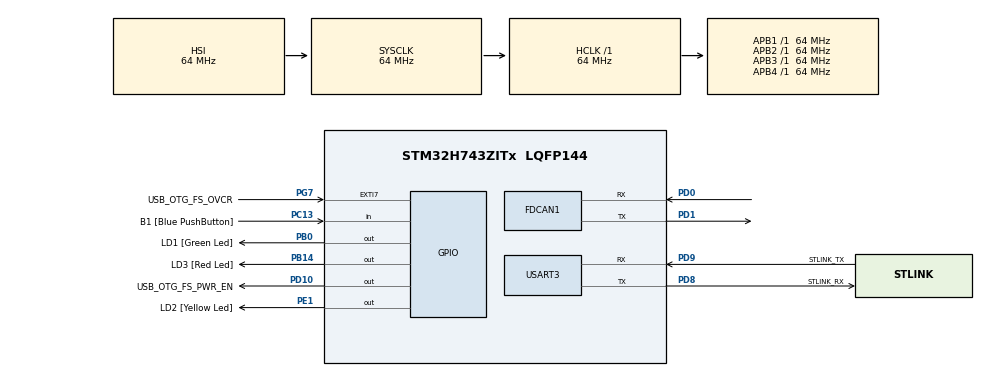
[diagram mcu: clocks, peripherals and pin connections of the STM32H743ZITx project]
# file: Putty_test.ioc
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FDCAN1.ExtFiltersNbr=2
FDCAN1.RxFifo0ElmtsNbr=10
Mcu.Family=STM32H7
Mcu.Name=STM32H743ZITx
Mcu.Package=LQFP144
NVIC.FDCAN1_IT0_IRQn=true\:0\:0\:false\:false\:true\:true\:true
NVIC.PriorityGroup=NVIC_PRIORITYGROUP_4
PA1.Signal=ETH_REF_CLK
PA11.Signal=USB_OTG_FS_DM
PA12.Signal=USB_OTG_FS_DP
PA2.Signal=ETH_MDIO
PA7.Signal=ETH_CRS_DV
PA8.Signal=USB_OTG_FS_SOF
PA9.Signal=USB_OTG_FS_VBUS
PB0.GPIO_Label=LD1 [Green Led]
PB0.Signal=GPIO_Output
PB13.Signal=ETH_TXD1
PB14.GPIO_Label=LD3 [Red Led]
PB14.Signal=GPIO_Output
PC1.Signal=ETH_MDC
PC13.GPIO_Label=B1 [Blue PushButton]
PC13.Signal=GPIO_Input
PC14-OSC32_IN\ (OSC32_IN).Signal=RCC_OSC32_IN
PC15-OSC32_OUT\ (OSC32_OUT).Signal=RCC_OSC32_OUT
PC4.Signal=ETH_RXD0
PC5.Signal=ETH_RXD1
PD0.Mode=FDCANMaster
PD0.Signal=FDCAN1_RX
PD1.Mode=FDCANMaster
PD1.Signal=FDCAN1_TX
PD10.GPIO_Label=USB_OTG_FS_PWR_EN
PD10.Signal=GPIO_Output
PD8.GPIO_Label=STLINK_RX
PD8.Mode=Asynchronous
PD8.Signal=USART3_TX
PD9.GPIO_Label=STLINK_TX
PD9.Mode=Asynchronous
PD9.Signal=USART3_RX
PE1.GPIO_Label=LD2 [Yellow Led]
PE1.Signal=GPIO_Output
PG11.Signal=ETH_TX_EN
PG13.Signal=ETH_TXD0
PG7.GPIO_Label=USB_OTG_FS_OVCR
PG7.Signal=GPXTI7
PH0-OSC_IN\ (PH0).Mode=HSE-External-Oscillator
PH0-OSC_IN\ (PH0).Signal=RCC_OSC_IN
PH1-OSC_OUT\ (PH1).Mode=HSE-External-Oscillator
PH1-OSC_OUT\ (PH1).Signal=RCC_OSC_OUT
ProjectManager.HeapSize=0x200
ProjectManager.StackSize=0x400
ProjectManager.TargetToolchain=STM32CubeIDE
RCC.ADCFreq_Value=129000000
RCC.APB1Freq_Value=64000000
RCC.APB2Freq_Value=64000000
RCC.APB3Freq_Value=64000000
RCC.APB4Freq_Value=64000000
RCC.CortexFreq_Value=64000000
RCC.DIVM1=4
RCC.DIVN1=9
RCC.HCLKFreq_Value=64000000
RCC.PLLFRACN=3072
RCC.SYSCLKFreq_VALUE=64000000
RCC.USBFreq_Value=75000000
USART3.VirtualMode-Asynchronous=VM_ASYNC
board=NUCLEO-H743ZI2

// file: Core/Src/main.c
/* USER CODE BEGIN Header */
/**
  ******************************************************************************
  * @file           : main.c
  * @brief          : Main program body
  ******************************************************************************
  * @attention
  *
  * <h2><center>&copy; Copyright (c) 2021 STMicroelectronics.
  * All rights reserved.</center></h2>
  *
  * This software component is licensed by ST under BSD 3-Clause license,
  * the "License"; You may not use this file except in compliance with the
  * License. You may obtain a copy of the License at:
  *                        opensource.org/licenses/BSD-3-Clause
  *
  ******************************************************************************
  */
/* USER CODE END Header */
#include "main.h"

/* USER CODE BEGIN Includes */
#include <stdio.h>
#include "retarget.h"
/* USER CODE END Includes */

FDCAN_HandleTypeDef hfdcan1;

UART_HandleTypeDef huart3;

/* USER CODE BEGIN PV */
FDCAN_RxHeaderTypeDef RxHeader;
uint8_t RxData[64];
FDCAN_TxHeaderTypeDef TxHeader;
uint8_t TxData[8];

/* USER CODE END PV */

void SystemClock_Config(void);
static void MX_GPIO_Init(void);
static void MX_USART3_UART_Init(void);
static void MX_FDCAN1_Init(void);
/* USER CODE BEGIN PFP */
static void FDCAN_Config(void);
/* USER CODE END PFP */

int main(void)
{
  /* USER CODE BEGIN 1 */
	printf("Starting!");
  /* USER CODE END 1 */

  /* MCU Configuration--------------------------------------------------------*/

  /* Reset of all peripherals, Initializes the Flash interface and the Systick. */
  HAL_Init();

  /* Configure the system clock */
  SystemClock_Config();

  /* Initialize all configured peripherals */
  MX_GPIO_Init();
  MX_USART3_UART_Init();
  MX_FDCAN1_Init();
  /* USER CODE BEGIN 2 */
  FDCAN_Config();
  RetargetInit(&huart3);
  /* USER CODE END 2 */

  /* Infinite loop */
  /* USER CODE BEGIN WHILE */
  while (1)
  {

	  HAL_Delay(500);
    /* USER CODE END WHILE */

  }
}

void SystemClock_Config(void)
{
  RCC_OscInitTypeDef RCC_OscInitStruct = {0};
  RCC_ClkInitTypeDef RCC_ClkInitStruct = {0};
  RCC_PeriphCLKInitTypeDef PeriphClkInitStruct = {0};

  /** Supply configuration update enable
  */
  HAL_PWREx_ConfigSupply(PWR_LDO_SUPPLY);
  /** Configure the main internal regulator output voltage
  */
  __HAL_PWR_VOLTAGESCALING_CONFIG(PWR_REGULATOR_VOLTAGE_SCALE3);

  while(!__HAL_PWR_GET_FLAG(PWR_FLAG_VOSRDY)) {}
  /** Initializes the RCC Oscillators according to the specified parameters
  * in the RCC_OscInitTypeDef structure.
  */
  RCC_OscInitStruct.OscillatorType = RCC_OSCILLATORTYPE_HSI;
  RCC_OscInitStruct.HSIState = RCC_HSI_DIV1;
  RCC_OscInitStruct.HSICalibrationValue = RCC_HSICALIBRATION_DEFAULT;
  RCC_OscInitStruct.PLL.PLLState = RCC_PLL_ON;
  RCC_OscInitStruct.PLL.PLLSource = RCC_PLLSOURCE_HSI;
  RCC_OscInitStruct.PLL.PLLM = 4;
  RCC_OscInitStruct.PLL.PLLN = 9;
  RCC_OscInitStruct.PLL.PLLP = 2;
  RCC_OscInitStruct.PLL.PLLQ = 2;
  RCC_OscInitStruct.PLL.PLLR = 2;
  RCC_OscInitStruct.PLL.PLLRGE = RCC_PLL1VCIRANGE_3;
  RCC_OscInitStruct.PLL.PLLVCOSEL = RCC_PLL1VCOMEDIUM;
  RCC_OscInitStruct.PLL.PLLFRACN = 3072;
  if (HAL_RCC_OscConfig(&RCC_OscInitStruct) != HAL_OK)
  {
    Error_Handler();
  }
  /** Initializes the CPU, AHB and APB buses clocks
  */
  RCC_ClkInitStruct.ClockType = RCC_CLOCKTYPE_HCLK|RCC_CLOCKTYPE_SYSCLK
                              |RCC_CLOCKTYPE_PCLK1|RCC_CLOCKTYPE_PCLK2
                              |RCC_CLOCKTYPE_D3PCLK1|RCC_CLOCKTYPE_D1PCLK1;
  RCC_ClkInitStruct.SYSCLKSource = RCC_SYSCLKSOURCE_HSI;
  RCC_ClkInitStruct.SYSCLKDivider = RCC_SYSCLK_DIV1;
  RCC_ClkInitStruct.AHBCLKDivider = RCC_HCLK_DIV1;
  RCC_ClkInitStruct.APB3CLKDivider = RCC_APB3_DIV1;
  RCC_ClkInitStruct.APB1CLKDivider = RCC_APB1_DIV1;
  RCC_ClkInitStruct.APB2CLKDivider = RCC_APB2_DIV1;
  RCC_ClkInitStruct.APB4CLKDivider = RCC_APB4_DIV1;

  if (HAL_RCC_ClockConfig(&RCC_ClkInitStruct, FLASH_LATENCY_0) != HAL_OK)
  {
    Error_Handler();
  }
  PeriphClkInitStruct.PeriphClockSelection = RCC_PERIPHCLK_USART3|RCC_PERIPHCLK_FDCAN;
  PeriphClkInitStruct.FdcanClockSelection = RCC_FDCANCLKSOURCE_PLL;
  PeriphClkInitStruct.Usart234578ClockSelection = RCC_USART234578CLKSOURCE_D2PCLK1;
  if (HAL_RCCEx_PeriphCLKConfig(&PeriphClkInitStruct) != HAL_OK)
  {
    Error_Handler();
  }
}

static void MX_FDCAN1_Init(void)
{

  hfdcan1.Instance = FDCAN1;
  hfdcan1.Init.FrameFormat = FDCAN_FRAME_FD_BRS;
  hfdcan1.Init.Mode = FDCAN_MODE_NORMAL;
  hfdcan1.Init.AutoRetransmission = DISABLE;
  hfdcan1.Init.TransmitPause = DISABLE;
  hfdcan1.Init.ProtocolException = DISABLE;
  hfdcan1.Init.NominalPrescaler = 1;
  hfdcan1.Init.NominalSyncJumpWidth = 1;
  hfdcan1.Init.NominalTimeSeg1 = 63;
  hfdcan1.Init.NominalTimeSeg2 = 16;
  hfdcan1.Init.DataPrescaler = 1;
  hfdcan1.Init.DataSyncJumpWidth = 1;
  hfdcan1.Init.DataTimeSeg1 = 63;
  hfdcan1.Init.DataTimeSeg2 = 16;
  hfdcan1.Init.MessageRAMOffset = 0;
  hfdcan1.Init.StdFiltersNbr = 2;
  hfdcan1.Init.ExtFiltersNbr = 2;
  hfdcan1.Init.RxFifo0ElmtsNbr = 10;
  hfdcan1.Init.RxFifo0ElmtSize = FDCAN_DATA_BYTES_64;
  hfdcan1.Init.RxFifo1ElmtsNbr = 0;
  hfdcan1.Init.RxFifo1ElmtSize = FDCAN_DATA_BYTES_8;
  hfdcan1.Init.RxBuffersNbr = 0;
  hfdcan1.Init.RxBufferSize = FDCAN_DATA_BYTES_8;
  hfdcan1.Init.TxEventsNbr = 0;
  hfdcan1.Init.TxBuffersNbr = 0;
  hfdcan1.Init.TxFifoQueueElmtsNbr = 0;
  hfdcan1.Init.TxFifoQueueMode = FDCAN_TX_FIFO_OPERATION;
  hfdcan1.Init.TxElmtSize = FDCAN_DATA_BYTES_8;
  if (HAL_FDCAN_Init(&hfdcan1) != HAL_OK)
  {
    Error_Handler();
  }

}

static void MX_USART3_UART_Init(void)
{

  huart3.Instance = USART3;
  huart3.Init.BaudRate = 115200;
  huart3.Init.WordLength = UART_WORDLENGTH_8B;
  huart3.Init.StopBits = UART_STOPBITS_1;
  huart3.Init.Parity = UART_PARITY_NONE;
  huart3.Init.Mode = UART_MODE_TX_RX;
  huart3.Init.HwFlowCtl = UART_HWCONTROL_NONE;
  huart3.Init.OverSampling = UART_OVERSAMPLING_16;
  huart3.Init.OneBitSampling = UART_ONE_BIT_SAMPLE_DISABLE;
  huart3.Init.ClockPrescaler = UART_PRESCALER_DIV1;
  huart3.AdvancedInit.AdvFeatureInit = UART_ADVFEATURE_NO_INIT;
  if (HAL_UART_Init(&huart3) != HAL_OK)
  {
    Error_Handler();
  }
  if (HAL_UARTEx_SetTxFifoThreshold(&huart3, UART_TXFIFO_THRESHOLD_1_8) != HAL_OK)
  {
    Error_Handler();
  }
  if (HAL_UARTEx_SetRxFifoThreshold(&huart3, UART_RXFIFO_THRESHOLD_1_8) != HAL_OK)
  {
    Error_Handler();
  }
  if (HAL_UARTEx_DisableFifoMode(&huart3) != HAL_OK)
  {
    Error_Handler();
  }

}

static void MX_GPIO_Init(void)
{
  GPIO_InitTypeDef GPIO_InitStruct = {0};

  /* GPIO Ports Clock Enable */
  __HAL_RCC_GPIOC_CLK_ENABLE();
  __HAL_RCC_GPIOH_CLK_ENABLE();
  __HAL_RCC_GPIOA_CLK_ENABLE();
  __HAL_RCC_GPIOB_CLK_ENABLE();
  __HAL_RCC_GPIOD_CLK_ENABLE();
  __HAL_RCC_GPIOG_CLK_ENABLE();
  __HAL_RCC_GPIOE_CLK_ENABLE();

  /*Configure GPIO pin Output Level */
  HAL_GPIO_WritePin(GPIOB, LD1_Pin|LD3_Pin, GPIO_PIN_RESET);

  /*Configure GPIO pin Output Level */
  HAL_GPIO_WritePin(USB_OTG_FS_PWR_EN_GPIO_Port, USB_OTG_FS_PWR_EN_Pin, GPIO_PIN_RESET);

  /*Configure GPIO pin Output Level */
  HAL_GPIO_WritePin(LD2_GPIO_Port, LD2_Pin, GPIO_PIN_RESET);

  /*Configure GPIO pin : B1_Pin */
  GPIO_InitStruct.Pin = B1_Pin;
  GPIO_InitStruct.Mode = GPIO_MODE_INPUT;
  GPIO_InitStruct.Pull = GPIO_NOPULL;
  HAL_GPIO_Init(B1_GPIO_Port, &GPIO_InitStruct);

  /*Configure GPIO pins : PC1 PC4 PC5 */
  GPIO_InitStruct.Pin = GPIO_PIN_1|GPIO_PIN_4|GPIO_PIN_5;
  GPIO_InitStruct.Mode = GPIO_MODE_AF_PP;
  GPIO_InitStruct.Pull = GPIO_NOPULL;
  GPIO_InitStruct.Speed = GPIO_SPEED_FREQ_LOW;
  GPIO_InitStruct.Alternate = GPIO_AF11_ETH;
  HAL_GPIO_Init(GPIOC, &GPIO_InitStruct);

  /*Configure GPIO pins : PA1 PA2 PA7 */
  GPIO_InitStruct.Pin = GPIO_PIN_1|GPIO_PIN_2|GPIO_PIN_7;
  GPIO_InitStruct.Mode = GPIO_MODE_AF_PP;
  GPIO_InitStruct.Pull = GPIO_NOPULL;
  GPIO_InitStruct.Speed = GPIO_SPEED_FREQ_LOW;
  GPIO_InitStruct.Alternate = GPIO_AF11_ETH;
  HAL_GPIO_Init(GPIOA, &GPIO_InitStruct);

  /*Configure GPIO pins : LD1_Pin LD3_Pin */
  GPIO_InitStruct.Pin = LD1_Pin|LD3_Pin;
  GPIO_InitStruct.Mode = GPIO_MODE_OUTPUT_PP;
  GPIO_InitStruct.Pull = GPIO_NOPULL;
  GPIO_InitStruct.Speed = GPIO_SPEED_FREQ_LOW;
  HAL_GPIO_Init(GPIOB, &GPIO_InitStruct);

  /*Configure GPIO pin : PB13 */
  GPIO_InitStruct.Pin = GPIO_PIN_13;
  GPIO_InitStruct.Mode = GPIO_MODE_AF_PP;
  GPIO_InitStruct.Pull = GPIO_NOPULL;
  GPIO_InitStruct.Speed = GPIO_SPEED_FREQ_LOW;
  GPIO_InitStruct.Alternate = GPIO_AF11_ETH;
  HAL_GPIO_Init(GPIOB, &GPIO_InitStruct);

  /*Configure GPIO pin : USB_OTG_FS_PWR_EN_Pin */
  GPIO_InitStruct.Pin = USB_OTG_FS_PWR_EN_Pin;
  GPIO_InitStruct.Mode = GPIO_MODE_OUTPUT_PP;
  GPIO_InitStruct.Pull = GPIO_NOPULL;
  GPIO_InitStruct.Speed = GPIO_SPEED_FREQ_LOW;
  HAL_GPIO_Init(USB_OTG_FS_PWR_EN_GPIO_Port, &GPIO_InitStruct);

  /*Configure GPIO pin : USB_OTG_FS_OVCR_Pin */
  GPIO_InitStruct.Pin = USB_OTG_FS_OVCR_Pin;
  GPIO_InitStruct.Mode = GPIO_MODE_IT_RISING;
  GPIO_InitStruct.Pull = GPIO_NOPULL;
  HAL_GPIO_Init(USB_OTG_FS_OVCR_GPIO_Port, &GPIO_InitStruct);

  /*Configure GPIO pins : PA8 PA11 PA12 */
  GPIO_InitStruct.Pin = GPIO_PIN_8|GPIO_PIN_11|GPIO_PIN_12;
  GPIO_InitStruct.Mode = GPIO_MODE_AF_PP;
  GPIO_InitStruct.Pull = GPIO_NOPULL;
  GPIO_InitStruct.Speed = GPIO_SPEED_FREQ_LOW;
  GPIO_InitStruct.Alternate = GPIO_AF10_OTG1_FS;
  HAL_GPIO_Init(GPIOA, &GPIO_InitStruct);

  /*Configure GPIO pins : PG11 PG13 */
  GPIO_InitStruct.Pin = GPIO_PIN_11|GPIO_PIN_13;
  GPIO_InitStruct.Mode = GPIO_MODE_AF_PP;
  GPIO_InitStruct.Pull = GPIO_NOPULL;
  GPIO_InitStruct.Speed = GPIO_SPEED_FREQ_LOW;
  GPIO_InitStruct.Alternate = GPIO_AF11_ETH;
  HAL_GPIO_Init(GPIOG, &GPIO_InitStruct);

  /*Configure GPIO pin : LD2_Pin */
  GPIO_InitStruct.Pin = LD2_Pin;
  GPIO_InitStruct.Mode = GPIO_MODE_OUTPUT_PP;
  GPIO_InitStruct.Pull = GPIO_NOPULL;
  GPIO_InitStruct.Speed = GPIO_SPEED_FREQ_LOW;
  HAL_GPIO_Init(LD2_GPIO_Port, &GPIO_InitStruct);

}

/* USER CODE BEGIN 4 */
static void FDCAN_Config(void){
	FDCAN_FilterTypeDef sFilterConfig;

	  /* Configure Rx filter */
	  sFilterConfig.IdType = FDCAN_STANDARD_ID;
	  sFilterConfig.FilterIndex = 0;
	  sFilterConfig.FilterType = FDCAN_FILTER_MASK;
	  sFilterConfig.FilterConfig = FDCAN_FILTER_TO_RXFIFO0;
	  sFilterConfig.FilterID1 = 0x321;
	  sFilterConfig.FilterID2 = 0x7FF;
	  if (HAL_FDCAN_ConfigFilter(&hfdcan1, &sFilterConfig) == HAL_OK)
	  {
	    printf("Filter configured");
	  }

	  /* Configure global filter:
	     Filter all remote frames with STD and EXT ID
	     Reject non matching frames with STD ID and EXT ID */
	  if (HAL_FDCAN_ConfigGlobalFilter(&hfdcan1, FDCAN_REJECT, FDCAN_REJECT, FDCAN_FILTER_REMOTE, FDCAN_FILTER_REMOTE) != HAL_OK)
	  {
	    Error_Handler();
	  }
	if (HAL_FDCAN_Start(&hfdcan1) != HAL_OK)
	  {
	    Error_Handler();
	  }
	if (HAL_FDCAN_ActivateNotification(&hfdcan1, FDCAN_IT_RX_FIFO0_NEW_MESSAGE, 0) != HAL_OK)
	  {
	    /* Notification Error */
	    Error_Handler();
	  }

}
void HAL_FDCAN_RxFifo0Callback(FDCAN_HandleTypeDef *hfdcan1, uint32_t RxFifo0ITs)
{
	if (HAL_FDCAN_GetRxMessage(hfdcan1, FDCAN_RX_FIFO0, &RxHeader, RxData) == HAL_OK)
			      {
				  	  for(int i=0;i<64;i++){
				  			  printf("%c",RxData[i]);
				  	  }
				  	  printf("\n");
			      }
}
/* USER CODE END 4 */

void Error_Handler(void)
{
}

/************************ (C) COPYRIGHT STMicroelectronics *****END OF FILE****/
